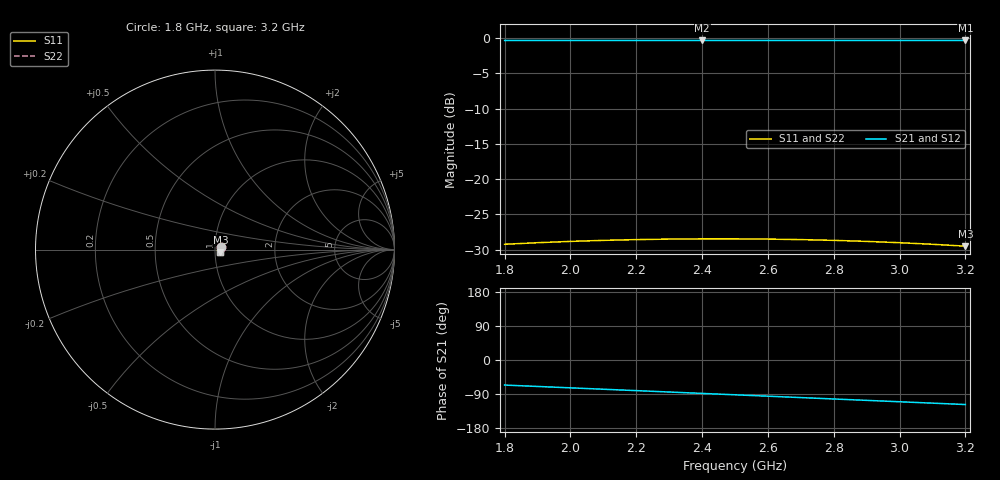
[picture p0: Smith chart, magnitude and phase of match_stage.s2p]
! 2.45 GHz Quarter-Wave Matching Network (Strictly Passive)
# GHz S MA R 50
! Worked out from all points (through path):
!   15 points, 1.8 GHz to 3.2 GHz, reference 50 ohm
!   highest |S21| = -0.35 dB at 3.2 GHz (marker M1); lowest = -0.4 dB at 2.4 GHz (marker M2)
!   group delay of S21, straight-line fit = 102 ps
!   lowest |S11| = -29.5 dB at 3.2 GHz (marker M3), VSWR 1.07, Z = 53.1 - j1.58 ohm
!   |S11| at or under -10 dB: start of sweep to end of sweep
!   |S22| runs from -29.5 to -28.5 dB; largest |S21 - S12| = 0
1.8  0.03448 22.8  0.9602 -66.1  0.9602 -66.1  0.03448 22.8
1.9  0.03538 19.3  0.9602 -69.8  0.9602 -69.8  0.03538 19.3
2  0.03614 15.8  0.9601 -73.5  0.9601 -73.5  0.03614 15.8
2.1  0.03675 12.3  0.9601 -77.2  0.9601 -77.2  0.03675 12.3
2.2  0.03721 8.8  0.9601 -80.8  0.9601 -80.8  0.03721 8.8
2.3  0.03752 5.3  0.9601 -84.5  0.9601 -84.5  0.03752 5.3
2.4  0.03768 1.8  0.9601 -88.2  0.9601 -88.2  0.03768 1.8
2.5  0.03768 -1.8  0.9601 -91.8  0.9601 -91.8  0.03768 -1.8
2.6  0.03752 -5.3  0.9601 -95.5  0.9601 -95.5  0.03752 -5.3
2.7  0.03721 -8.8  0.9601 -99.2  0.9601 -99.2  0.03721 -8.8
2.8  0.03675 -12.3  0.9601 -102.8  0.9601 -102.8  0.03675 -12.3
2.9  0.03614 -15.8  0.9601 -106.5  0.9601 -106.5  0.03614 -15.8
3  0.03538 -19.3  0.9602 -110.2  0.9602 -110.2  0.03538 -19.3
3.1  0.03448 -22.8  0.9602 -113.9  0.9602 -113.9  0.03448 -22.8
3.2  0.03343 -26.3  0.9602 -117.5  0.9602 -117.5  0.03343 -26.3
